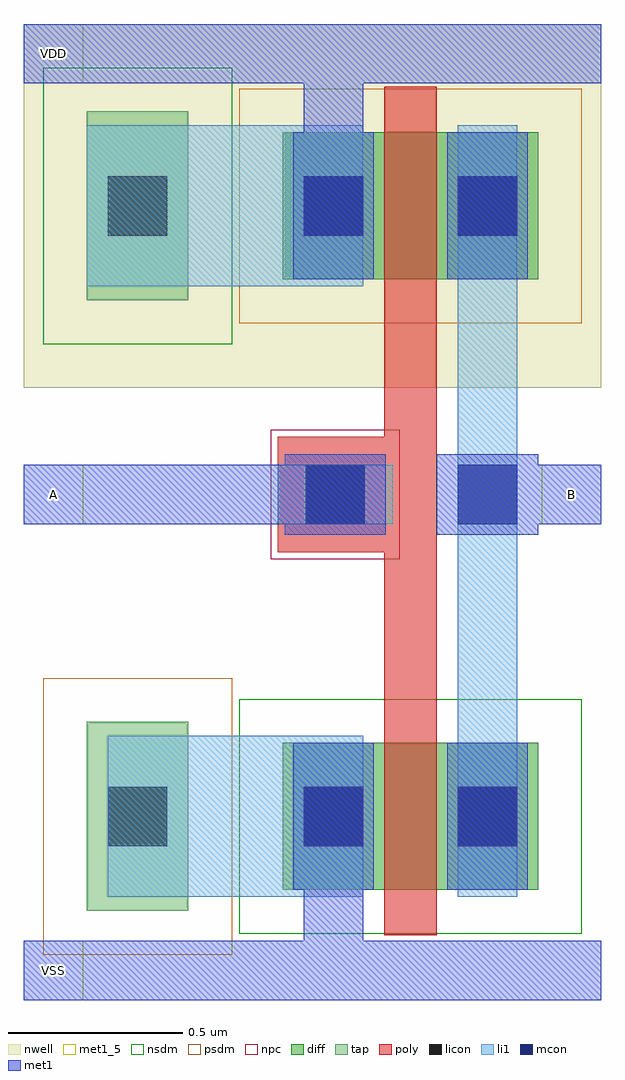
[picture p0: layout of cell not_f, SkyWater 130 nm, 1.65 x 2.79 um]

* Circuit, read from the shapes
.subckt not_f A B VDD VSS
XM1 B A VSS VSS sky130_fd_pr__nfet_01v8 w=0.42 l=0.15
XM2 B A VDD VDD sky130_fd_pr__pfet_01v8 w=0.42 l=0.15
.ends

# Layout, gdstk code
import gdstk
lib = gdstk.Library(unit=1e-6, precision=1e-09)
def R(c, l, rs):  # rectangles x0, y0, x1, y1
    for r in rs: c.add(gdstk.rectangle(r[:2], r[2:], *l))
nwell = (64, 20)
diff = (65, 20)
tap = (65, 44)
poly = (66, 20)
licon = (66, 44)
li1 = (67, 20)
mcon = (67, 44)
met1_5 = (68, 5)
met1 = (68, 20)
nsdm = (93, 44)
psdm = (94, 20)
npc = (95, 20)

not_f = lib.new_cell('not_f')
R(not_f, nwell, [(0,2.44,1.65,3.48)])
R(not_f, diff, [(0.74,1.005,1.47,1.425), (0.74,2.75,1.47,3.17)])
R(not_f, tap, [(0.18,0.945,0.47,1.485), (0.18,2.69,0.47,3.23)])
R(not_f, poly, [(1.03,0.875,1.18,1.97), (0.725,1.97,1.18,2.3), (1.03,2.3,1.18,3.3)])
R(not_f, licon, [(0.24,1.13,0.41,1.3), (0.8,1.13,0.97,1.3), (1.24,1.13,1.41,1.3), (0.805,2.05,0.975,2.22), (0.24,2.875,0.41,3.045), (0.8,2.875,0.97,3.045), (1.24,2.875,1.41,3.045)])
R(not_f, li1, [(0.24,0.985,0.97,1.445), (1.24,0.985,1.41,3.19), (0.725,2.05,1.055,2.22), (0.18,2.73,0.97,3.19)])
R(not_f, mcon, [(0.8,1.13,0.97,1.3), (1.24,1.13,1.41,1.3), (0.805,2.05,0.975,2.22), (1.24,2.05,1.41,2.22), (0.8,2.875,0.97,3.045), (1.24,2.875,1.41,3.045)])
R(not_f, met1_5, [(0,0.69,0.17,0.86), (0,2.05,0.17,2.22), (1.48,2.05,1.65,2.22), (0,3.31,0.17,3.48)])
R(not_f, met1, [(0,0.69,1.65,0.86), (0.8,0.86,0.97,1.005), (0.77,1.005,1,1.425), (1.21,1.005,1.44,1.425), (0.745,2.02,1.035,2.05), (1.18,2.02,1.47,2.05), (0,2.05,1.035,2.22), (1.18,2.05,1.65,2.22), (0.745,2.22,1.035,2.25), (1.18,2.22,1.47,2.25), (0.77,2.75,1,3.17), (1.21,2.75,1.44,3.17), (0.8,3.17,0.97,3.31), (0,3.31,1.65,3.48)])
R(not_f, nsdm, [(0.615,0.88,1.595,1.55), (0.055,2.565,0.595,3.355)])
R(not_f, psdm, [(0.055,0.82,0.595,1.61), (0.615,2.625,1.595,3.295)])
R(not_f, npc, [(0.705,1.95,1.075,2.32)])
not_f.add(gdstk.Label('B', (1.565,2.135), layer=68, texttype=5))
not_f.add(gdstk.Label('VDD', (0.085,3.395), layer=68, texttype=5))
not_f.add(gdstk.Label('A', (0.085,2.135), layer=68, texttype=5))
not_f.add(gdstk.Label('VSS', (0.085,0.775), layer=68, texttype=5))

lib.write_gds('not_f.gds')
